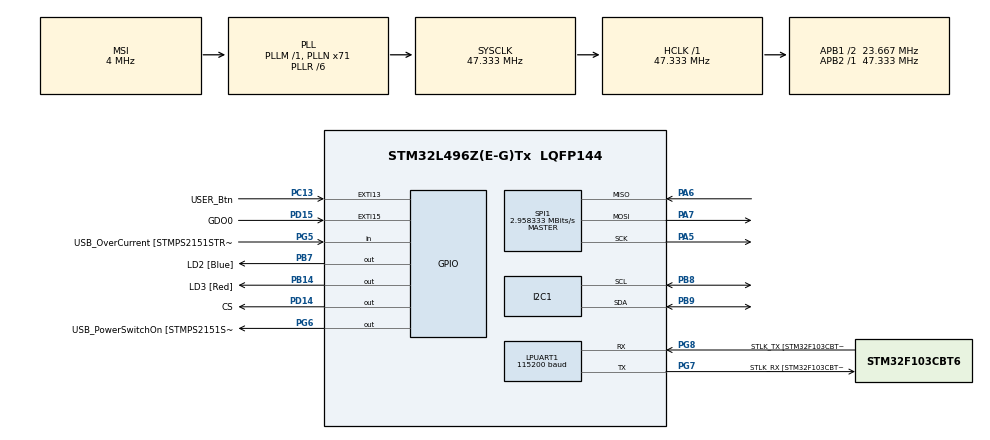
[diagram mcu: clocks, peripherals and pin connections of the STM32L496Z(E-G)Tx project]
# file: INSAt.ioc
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Dma.LPUART_RX.0.Direction=DMA_PERIPH_TO_MEMORY
Dma.LPUART_RX.0.Instance=DMA2_Channel7
Dma.LPUART_RX.0.MemDataAlignment=DMA_MDATAALIGN_BYTE
Dma.LPUART_RX.0.MemInc=DMA_MINC_ENABLE
Dma.LPUART_RX.0.Mode=DMA_NORMAL
Dma.LPUART_RX.0.PeriphDataAlignment=DMA_PDATAALIGN_BYTE
Dma.LPUART_RX.0.PeriphInc=DMA_PINC_DISABLE
Dma.LPUART_RX.0.Priority=DMA_PRIORITY_VERY_HIGH
Dma.Request0=LPUART_RX
FREERTOS.Mutexes01=consoleMutex,Dynamic,NULL
FREERTOS.Queues01=consoleQueue,10,char,0,Dynamic,NULL,NULL
FREERTOS.Tasks01=consoleTask,24,128,StartConsoleTask,Default,NULL,Static,consoleTaskBuffer,consoleTaskControlBlock;imuTask,24,128,StartIMUTask,Default,NULL,Static,imuTaskBuffer,imuTaskControlBlock;rfTask,8,128,StartRFTask,Default,NULL,Static,rfTaskBuffer,rfTaskControlBlock
I2C1.Timing=0x00505B89
LPUART1.BaudRate=115200
LPUART1.WordLength=UART_WORDLENGTH_8B
Mcu.Family=STM32L4
Mcu.Name=STM32L496Z(E-G)Tx
Mcu.Package=LQFP144
NVIC.DMA2_Channel7_IRQn=true\:5\:0\:false\:false\:true\:true\:false\:true\:true
NVIC.EXTI15_10_IRQn=true\:5\:0\:false\:false\:true\:true\:true\:true\:true
NVIC.I2C1_EV_IRQn=true\:5\:0\:false\:false\:true\:true\:true\:true\:true
NVIC.LPUART1_IRQn=true\:5\:0\:false\:false\:true\:true\:true\:true\:true
NVIC.PriorityGroup=NVIC_PRIORITYGROUP_4
NVIC.TIM7_IRQn=true\:15\:0\:false\:false\:true\:false\:false\:true\:true
NVIC.TimeBase=TIM7_IRQn
NVIC.TimeBaseIP=TIM7
PA10.GPIO_Label=USB_ID
PA10.Signal=USB_OTG_FS_ID
PA11.GPIO_Label=USB_DM
PA11.Signal=USB_OTG_FS_DM
PA12.GPIO_Label=USB_DP
PA12.Signal=USB_OTG_FS_DP
PA13\ (JTMS/SWDIO).GPIO_Label=TMS
PA13\ (JTMS/SWDIO).Mode=Serial_Wire
PA13\ (JTMS/SWDIO).Signal=SYS_JTMS-SWDIO
PA14\ (JTCK/SWCLK).GPIO_Label=TCK
PA14\ (JTCK/SWCLK).Mode=Serial_Wire
PA14\ (JTCK/SWCLK).Signal=SYS_JTCK-SWCLK
PA4.Signal=SPI1_NSS
PA5.Mode=Full_Duplex_Master
PA5.Signal=SPI1_SCK
PA6.Mode=Full_Duplex_Master
PA6.Signal=SPI1_MISO
PA7.Mode=Full_Duplex_Master
PA7.Signal=SPI1_MOSI
PA8.GPIO_Label=USB_SOF [TP1]
PA8.Signal=USB_OTG_FS_SOF
PA9.GPIO_Label=USB_VBUS
PA9.Signal=USB_OTG_FS_VBUS
PB14.GPIO_Label=LD3 [Red]
PB14.Signal=GPIO_Output
PB3\ (JTDO/TRACESWO).GPIO_Label=SWO
PB3\ (JTDO/TRACESWO).Signal=SYS_JTDO-SWO
PB7.GPIO_Label=LD2 [Blue]
PB7.Signal=GPIO_Output
PB8.GPIO_Pu=GPIO_NOPULL
PB8.GPIO_Speed=GPIO_SPEED_FREQ_VERY_HIGH
PB8.Mode=I2C
PB8.Signal=I2C1_SCL
PB9.GPIO_Pu=GPIO_NOPULL
PB9.GPIO_Speed=GPIO_SPEED_FREQ_VERY_HIGH
PB9.Mode=I2C
PB9.Signal=I2C1_SDA
PC13.GPIO_Label=USER_Btn
PC13.Signal=GPXTI13
PC14-OSC32_IN\ (PC14).Mode=LSE-External-Oscillator
PC14-OSC32_IN\ (PC14).Signal=RCC_OSC32_IN
PC15-OSC32_OUT\ (PC15).Mode=LSE-External-Oscillator
PC15-OSC32_OUT\ (PC15).Signal=RCC_OSC32_OUT
PD14.GPIO_Label=CS
PD14.GPIO_PuPd=GPIO_NOPULL
PD14.PinState=GPIO_PIN_RESET
PD14.Signal=GPIO_Output
PD15.GPIO_Label=GDO0
PD15.GPIO_ModeDefaultEXTI=GPIO_MODE_IT_FALLING
PD15.Signal=GPXTI15
PG5.GPIO_Label=USB_OverCurrent [STMPS2151STR_FAULT]
PG5.Signal=GPIO_Input
PG6.GPIO_Label=USB_PowerSwitchOn [STMPS2151STR_EN]
PG6.Signal=GPIO_Output
PG7.GPIO_Label=STLK_RX [STM32F103CBT6_PA3]
PG7.Mode=Asynchronous
PG7.Signal=LPUART1_TX
PG8.GPIO_Label=STLK_TX [STM32F103CBT6_PA2]
PG8.Mode=Asynchronous
PG8.Signal=LPUART1_RX
PH1-OSC_OUT\ (PH1).Signal=RCC_OSC_OUT
ProjectManager.HeapSize=0x200
ProjectManager.StackSize=0x400
ProjectManager.TargetToolchain=STM32CubeIDE
RCC.48MHZClocksFreq_Value=24000000
RCC.ADCFreq_Value=48000000
RCC.AHBFreq_Value=47333333.333333336
RCC.APB1CLKDivider=RCC_HCLK_DIV2
RCC.APB1Freq_Value=23666666.666666668
RCC.APB1TimFreq_Value=47333333.333333336
RCC.APB2Freq_Value=47333333.333333336
RCC.APB2TimFreq_Value=47333333.333333336
RCC.CortexFreq_Value=47333333.333333336
RCC.HCLKFreq_Value=47333333.333333336
RCC.HSE_VALUE=8000000
RCC.HSI48_VALUE=48000000
RCC.HSI_VALUE=16000000
RCC.MSI_VALUE=4000000
RCC.PLLMUL=RCC_PLL_MUL9
RCC.PLLN=71
RCC.PLLR=RCC_PLLR_DIV6
RCC.PLLSAI1N=24
RCC.PRESCALERUSB=RCC_USBCLKSOURCE_PLL_DIV1_5
RCC.SYSCLKFreq_VALUE=47333333.333333336
RCC.SYSCLKSource=RCC_SYSCLKSOURCE_PLLCLK
RCC.SYSCLKSourceVirtual=RCC_SYSCLKSOURCE_PLLCLK
RCC.USBFreq_Value=48000000
RCC.VCOOutputFreq_Value=284000000
SPI1.BaudRatePrescaler=SPI_BAUDRATEPRESCALER_16
SPI1.CalculateBaudRate=2.958333 MBits/s
SPI1.DataSize=SPI_DATASIZE_8BIT
SPI1.Direction=SPI_DIRECTION_2LINES
SPI1.Mode=SPI_MODE_MASTER
SPI1.VirtualType=VM_MASTER
VP_FREERTOS_VS_CMSIS_V2.Mode=CMSIS_V2
VP_SYS_VS_tim7.Mode=TIM7
board=NUCLEO-L496ZG

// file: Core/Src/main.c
/* USER CODE BEGIN Header */
/**
  ******************************************************************************
  * @file           : main.c
  * @brief          : Main program body
  ******************************************************************************
  * @attention
  *
  * Copyright (c) 2023 STMicroelectronics.
  * All rights reserved.
  *
  * This software is licensed under terms that can be found in the LICENSE file
  * in the root directory of this software component.
  * If no LICENSE file comes with this software, it is provided AS-IS.
  *
  ******************************************************************************
  */
/* USER CODE END Header */
#include "main.h"
#include "cmsis_os.h"

/* USER CODE BEGIN Includes */
#include "lsm9ds1_driver.h"
#include "rf_driver.h"
#include <string.h>
#include <stdio.h>
/* USER CODE END Includes */

typedef StaticTask_t osStaticThreadDef_t;
/* USER CODE BEGIN PTD */
typedef struct {
  void   *hbus;
  uint8_t i2c_address;
} sensbus_t;
/* USER CODE END PTD */

/* USER CODE BEGIN PD */
#define SENSOR_BUS hi2c1
/* USER CODE END PD */

/* USER CODE BEGIN PM */
#define BOOT_TIME  20
/* USER CODE END PM */

I2C_HandleTypeDef hi2c1;

UART_HandleTypeDef hlpuart1;
DMA_HandleTypeDef hdma_lpuart_rx;

SPI_HandleTypeDef hspi1;

/* Definitions for consoleTask */
osThreadId_t consoleTaskHandle;
uint32_t consoleTaskBuffer[ 128 ];
osStaticThreadDef_t consoleTaskControlBlock;
const osThreadAttr_t consoleTask_attributes = {
  .name = "consoleTask",
  .cb_mem = &consoleTaskControlBlock,
  .cb_size = sizeof(consoleTaskControlBlock),
  .stack_mem = &consoleTaskBuffer[0],
  .stack_size = sizeof(consoleTaskBuffer),
  .priority = (osPriority_t) osPriorityHigh,
};
/* Definitions for imuTask */
osThreadId_t imuTaskHandle;
uint32_t imuTaskBuffer[ 128 ];
osStaticThreadDef_t imuTaskControlBlock;
const osThreadAttr_t imuTask_attributes = {
  .name = "imuTask",
  .cb_mem = &imuTaskControlBlock,
  .cb_size = sizeof(imuTaskControlBlock),
  .stack_mem = &imuTaskBuffer[0],
  .stack_size = sizeof(imuTaskBuffer),
  .priority = (osPriority_t) osPriorityNormal,
};
/* Definitions for rfTask */
osThreadId_t rfTaskHandle;
uint32_t rfTaskBuffer[ 128 ];
osStaticThreadDef_t rfTaskControlBlock;
const osThreadAttr_t rfTask_attributes = {
  .name = "rfTask",
  .cb_mem = &rfTaskControlBlock,
  .cb_size = sizeof(rfTaskControlBlock),
  .stack_mem = &rfTaskBuffer[0],
  .stack_size = sizeof(rfTaskBuffer),
  .priority = (osPriority_t) osPriorityNormal1,
};
/* Definitions for consoleQueue */
osMessageQueueId_t consoleQueueHandle;
const osMessageQueueAttr_t consoleQueue_attributes = {
  .name = "consoleQueue"
};
/* Definitions for consoleMutex */
osMutexId_t consoleMutexHandle;
const osMutexAttr_t consoleMutex_attributes = {
  .name = "consoleMutex"
};
/* USER CODE BEGIN PV */
static sensbus_t mag_bus = {&SENSOR_BUS,
							LSM9DS1_MAG_I2C_ADD_H
                           };
static sensbus_t imu_bus = {&SENSOR_BUS,
							LSM9DS1_IMU_I2C_ADD_H
                           };
static int16_t data_raw_acceleration[3];
static int16_t data_raw_angular_rate[3];
static int16_t data_raw_magnetic_field[3];
static float acceleration_mg[3];
static float angular_rate_mdps[3];
static float magnetic_field_mgauss[3];
//static uint8_t rst;
static uint8_t tx_buffer[1000];
static lsm9ds1_status_t reg;

static lsm9ds1_id_t whoamI;
/* USER CODE END PV */

void SystemClock_Config(void);
static void MX_GPIO_Init(void);
static void MX_DMA_Init(void);
static void MX_LPUART1_UART_Init(void);
static void MX_I2C1_Init(void);
static void MX_SPI1_Init(void);
void StartConsoleTask(void *argument);
void StartIMUTask(void *argument);
void StartRFTask(void *argument);

/* USER CODE BEGIN PFP */
void sendUART(char *data);
static int32_t stm32l4_write_imu(void *handle, uint8_t reg,
                                  const uint8_t *bufp, uint16_t len);
static int32_t stm32l4_read_imu(void *handle, uint8_t reg,
                                 uint8_t *bufp, uint16_t len);
static int32_t stm32l4_write_mag(void *handle, uint8_t reg,
                                  const uint8_t *bufp, uint16_t len);
static int32_t stm32l4_read_mag(void *handle, uint8_t reg,
                                 uint8_t *bufp, uint16_t len);

void transmit_demo(uint16_t size);
/* USER CODE END PFP */

int main(void)
{

  /* MCU Configuration--------------------------------------------------------*/

  /* Reset of all peripherals, Initializes the Flash interface and the Systick. */
  HAL_Init();

  /* Configure the system clock */
  SystemClock_Config();

  /* Initialize all configured peripherals */
  MX_GPIO_Init();
  MX_DMA_Init();
  MX_LPUART1_UART_Init();
  MX_I2C1_Init();
  MX_SPI1_Init();

  /* Init scheduler */
  osKernelInitialize();
  /* Create the mutex(es) */
  /* creation of consoleMutex */
  consoleMutexHandle = osMutexNew(&consoleMutex_attributes);

  /* Create the queue(s) */
  /* creation of consoleQueue */
  consoleQueueHandle = osMessageQueueNew (10, sizeof(char), &consoleQueue_attributes);

  /* Create the thread(s) */
  /* creation of consoleTask */
  consoleTaskHandle = osThreadNew(StartConsoleTask, NULL, &consoleTask_attributes);

  /* creation of imuTask */
  imuTaskHandle = osThreadNew(StartIMUTask, NULL, &imuTask_attributes);

  /* creation of rfTask */
  rfTaskHandle = osThreadNew(StartRFTask, NULL, &rfTask_attributes);

  /* Start scheduler */
  osKernelStart();

  /* We should never get here as control is now taken by the scheduler */
  /* Infinite loop */
  while (1)
  {

  }
}

void SystemClock_Config(void)
{
  RCC_OscInitTypeDef RCC_OscInitStruct = {0};
  RCC_ClkInitTypeDef RCC_ClkInitStruct = {0};

  /** Configure the main internal regulator output voltage
  */
  if (HAL_PWREx_ControlVoltageScaling(PWR_REGULATOR_VOLTAGE_SCALE1) != HAL_OK)
  {
    Error_Handler();
  }

  /** Initializes the RCC Oscillators according to the specified parameters
  * in the RCC_OscInitTypeDef structure.
  */
  RCC_OscInitStruct.OscillatorType = RCC_OSCILLATORTYPE_MSI;
  RCC_OscInitStruct.MSIState = RCC_MSI_ON;
  RCC_OscInitStruct.MSICalibrationValue = 0;
  RCC_OscInitStruct.MSIClockRange = RCC_MSIRANGE_6;
  RCC_OscInitStruct.PLL.PLLState = RCC_PLL_ON;
  RCC_OscInitStruct.PLL.PLLSource = RCC_PLLSOURCE_MSI;
  RCC_OscInitStruct.PLL.PLLM = 1;
  RCC_OscInitStruct.PLL.PLLN = 71;
  RCC_OscInitStruct.PLL.PLLP = RCC_PLLP_DIV2;
  RCC_OscInitStruct.PLL.PLLQ = RCC_PLLQ_DIV2;
  RCC_OscInitStruct.PLL.PLLR = RCC_PLLR_DIV6;
  if (HAL_RCC_OscConfig(&RCC_OscInitStruct) != HAL_OK)
  {
    Error_Handler();
  }

  /** Initializes the CPU, AHB and APB buses clocks
  */
  RCC_ClkInitStruct.ClockType = RCC_CLOCKTYPE_HCLK|RCC_CLOCKTYPE_SYSCLK
                              |RCC_CLOCKTYPE_PCLK1|RCC_CLOCKTYPE_PCLK2;
  RCC_ClkInitStruct.SYSCLKSource = RCC_SYSCLKSOURCE_PLLCLK;
  RCC_ClkInitStruct.AHBCLKDivider = RCC_SYSCLK_DIV1;
  RCC_ClkInitStruct.APB1CLKDivider = RCC_HCLK_DIV2;
  RCC_ClkInitStruct.APB2CLKDivider = RCC_HCLK_DIV1;

  if (HAL_RCC_ClockConfig(&RCC_ClkInitStruct, FLASH_LATENCY_2) != HAL_OK)
  {
    Error_Handler();
  }
}

static void MX_I2C1_Init(void)
{

  hi2c1.Instance = I2C1;
  hi2c1.Init.Timing = 0x00505B89;
  hi2c1.Init.OwnAddress1 = 0;
  hi2c1.Init.AddressingMode = I2C_ADDRESSINGMODE_7BIT;
  hi2c1.Init.DualAddressMode = I2C_DUALADDRESS_DISABLE;
  hi2c1.Init.OwnAddress2 = 0;
  hi2c1.Init.OwnAddress2Masks = I2C_OA2_NOMASK;
  hi2c1.Init.GeneralCallMode = I2C_GENERALCALL_DISABLE;
  hi2c1.Init.NoStretchMode = I2C_NOSTRETCH_DISABLE;
  if (HAL_I2C_Init(&hi2c1) != HAL_OK)
  {
    Error_Handler();
  }

  /** Configure Analogue filter
  */
  if (HAL_I2CEx_ConfigAnalogFilter(&hi2c1, I2C_ANALOGFILTER_ENABLE) != HAL_OK)
  {
    Error_Handler();
  }

  /** Configure Digital filter
  */
  if (HAL_I2CEx_ConfigDigitalFilter(&hi2c1, 0) != HAL_OK)
  {
    Error_Handler();
  }

}

static void MX_LPUART1_UART_Init(void)
{

  hlpuart1.Instance = LPUART1;
  hlpuart1.Init.BaudRate = 115200;
  hlpuart1.Init.WordLength = UART_WORDLENGTH_8B;
  hlpuart1.Init.StopBits = UART_STOPBITS_1;
  hlpuart1.Init.Parity = UART_PARITY_NONE;
  hlpuart1.Init.Mode = UART_MODE_TX_RX;
  hlpuart1.Init.HwFlowCtl = UART_HWCONTROL_NONE;
  hlpuart1.Init.OneBitSampling = UART_ONE_BIT_SAMPLE_DISABLE;
  hlpuart1.AdvancedInit.AdvFeatureInit = UART_ADVFEATURE_NO_INIT;
  if (HAL_UART_Init(&hlpuart1) != HAL_OK)
  {
    Error_Handler();
  }

}

static void MX_SPI1_Init(void)
{

  /* SPI1 parameter configuration*/
  hspi1.Instance = SPI1;
  hspi1.Init.Mode = SPI_MODE_MASTER;
  hspi1.Init.Direction = SPI_DIRECTION_2LINES;
  hspi1.Init.DataSize = SPI_DATASIZE_8BIT;
  hspi1.Init.CLKPolarity = SPI_POLARITY_LOW;
  hspi1.Init.CLKPhase = SPI_PHASE_1EDGE;
  hspi1.Init.NSS = SPI_NSS_SOFT;
  hspi1.Init.BaudRatePrescaler = SPI_BAUDRATEPRESCALER_16;
  hspi1.Init.FirstBit = SPI_FIRSTBIT_MSB;
  hspi1.Init.TIMode = SPI_TIMODE_DISABLE;
  hspi1.Init.CRCCalculation = SPI_CRCCALCULATION_DISABLE;
  hspi1.Init.CRCPolynomial = 10;
  if (HAL_SPI_Init(&hspi1) != HAL_OK)
  {
    Error_Handler();
  }

}

static void MX_DMA_Init(void)
{

  /* DMA controller clock enable */
  __HAL_RCC_DMA2_CLK_ENABLE();

  /* DMA interrupt init */
  /* DMA2_Channel7_IRQn interrupt configuration */
  HAL_NVIC_SetPriority(DMA2_Channel7_IRQn, 5, 0);
  HAL_NVIC_EnableIRQ(DMA2_Channel7_IRQn);

}

static void MX_GPIO_Init(void)
{
  GPIO_InitTypeDef GPIO_InitStruct = {0};

  /* GPIO Ports Clock Enable */
  __HAL_RCC_GPIOC_CLK_ENABLE();
  __HAL_RCC_GPIOH_CLK_ENABLE();
  __HAL_RCC_GPIOA_CLK_ENABLE();
  __HAL_RCC_GPIOB_CLK_ENABLE();
  __HAL_RCC_GPIOD_CLK_ENABLE();
  __HAL_RCC_GPIOG_CLK_ENABLE();
  HAL_PWREx_EnableVddIO2();

  /*Configure GPIO pin Output Level */
  HAL_GPIO_WritePin(GPIOB, LD3_Pin|LD2_Pin, GPIO_PIN_RESET);

  /*Configure GPIO pin Output Level */
  HAL_GPIO_WritePin(CS_GPIO_Port, CS_Pin, GPIO_PIN_RESET);

  /*Configure GPIO pin Output Level */
  HAL_GPIO_WritePin(USB_PowerSwitchOn_GPIO_Port, USB_PowerSwitchOn_Pin, GPIO_PIN_RESET);

  /*Configure GPIO pin : USER_Btn_Pin */
  GPIO_InitStruct.Pin = USER_Btn_Pin;
  GPIO_InitStruct.Mode = GPIO_MODE_IT_RISING;
  GPIO_InitStruct.Pull = GPIO_NOPULL;
  HAL_GPIO_Init(USER_Btn_GPIO_Port, &GPIO_InitStruct);

  /*Configure GPIO pins : LD3_Pin LD2_Pin */
  GPIO_InitStruct.Pin = LD3_Pin|LD2_Pin;
  GPIO_InitStruct.Mode = GPIO_MODE_OUTPUT_PP;
  GPIO_InitStruct.Pull = GPIO_NOPULL;
  GPIO_InitStruct.Speed = GPIO_SPEED_FREQ_LOW;
  HAL_GPIO_Init(GPIOB, &GPIO_InitStruct);

  /*Configure GPIO pin : CS_Pin */
  GPIO_InitStruct.Pin = CS_Pin;
  GPIO_InitStruct.Mode = GPIO_MODE_OUTPUT_PP;
  GPIO_InitStruct.Pull = GPIO_NOPULL;
  GPIO_InitStruct.Speed = GPIO_SPEED_FREQ_LOW;
  HAL_GPIO_Init(CS_GPIO_Port, &GPIO_InitStruct);

  /*Configure GPIO pin : GDO0_Pin */
  GPIO_InitStruct.Pin = GDO0_Pin;
  GPIO_InitStruct.Mode = GPIO_MODE_IT_FALLING;
  GPIO_InitStruct.Pull = GPIO_NOPULL;
  HAL_GPIO_Init(GDO0_GPIO_Port, &GPIO_InitStruct);

  /*Configure GPIO pin : USB_OverCurrent_Pin */
  GPIO_InitStruct.Pin = USB_OverCurrent_Pin;
  GPIO_InitStruct.Mode = GPIO_MODE_INPUT;
  GPIO_InitStruct.Pull = GPIO_NOPULL;
  HAL_GPIO_Init(USB_OverCurrent_GPIO_Port, &GPIO_InitStruct);

  /*Configure GPIO pin : USB_PowerSwitchOn_Pin */
  GPIO_InitStruct.Pin = USB_PowerSwitchOn_Pin;
  GPIO_InitStruct.Mode = GPIO_MODE_OUTPUT_PP;
  GPIO_InitStruct.Pull = GPIO_NOPULL;
  GPIO_InitStruct.Speed = GPIO_SPEED_FREQ_LOW;
  HAL_GPIO_Init(USB_PowerSwitchOn_GPIO_Port, &GPIO_InitStruct);

  /*Configure GPIO pins : USB_SOF_Pin USB_ID_Pin USB_DM_Pin USB_DP_Pin */
  GPIO_InitStruct.Pin = USB_SOF_Pin|USB_ID_Pin|USB_DM_Pin|USB_DP_Pin;
  GPIO_InitStruct.Mode = GPIO_MODE_AF_PP;
  GPIO_InitStruct.Pull = GPIO_NOPULL;
  GPIO_InitStruct.Speed = GPIO_SPEED_FREQ_VERY_HIGH;
  GPIO_InitStruct.Alternate = GPIO_AF10_OTG_FS;
  HAL_GPIO_Init(GPIOA, &GPIO_InitStruct);

  /* EXTI interrupt init*/
  HAL_NVIC_SetPriority(EXTI15_10_IRQn, 5, 0);
  HAL_NVIC_EnableIRQ(EXTI15_10_IRQn);

}

void StartConsoleTask(void *argument)
{
  /* USER CODE BEGIN 5 */
	osStatus_t status;
	char data[128]; // Taille maximale des données à envoyer

	consoleQueueHandle = osMessageQueueNew(10, sizeof(data), NULL);
	consoleMutexHandle = osMutexNew(NULL);
	/* Infinite loop */
	for(;;)
	{
		HAL_GPIO_TogglePin(LD3_GPIO_Port, LD3_Pin);
		status = osMessageQueueGet(consoleQueueHandle, &data, NULL, 0); // vérification si données dans fifo
		if (status == osOK)
		{
		  status = osMutexAcquire(consoleMutexHandle, osWaitForever);
		  if (status == osOK)
		  {
			  HAL_UART_Transmit(&hlpuart1, (uint8_t*)&data, strlen(data), 0xFFFF); // envoyer données à UART
			  osMutexRelease(consoleMutexHandle);
		  }
		}
		osDelay(1000);
	}
  /* USER CODE END 5 */
}

void StartIMUTask(void* argument)
{
	/* USER CODE BEGIN 6 */
  stmdev_ctx_t dev_ctx_imu;
  stmdev_ctx_t dev_ctx_mag;

  /* Initialize inertial sensors (IMU) driver interface */
  dev_ctx_imu.write_reg = stm32l4_write_imu;
  dev_ctx_imu.read_reg = stm32l4_read_imu;
  dev_ctx_imu.handle = (void *)&imu_bus;
  /* Initialize magnetic sensors driver interface */
  dev_ctx_mag.write_reg = stm32l4_write_mag;
  dev_ctx_mag.read_reg = stm32l4_read_mag;
  dev_ctx_mag.handle = (void *)&mag_bus;

  osDelay(BOOT_TIME);
  /* Check device ID */
  lsm9ds1_dev_id_get(&dev_ctx_mag, &dev_ctx_imu, &whoamI);

  if (whoamI.imu != LSM9DS1_IMU_ID || whoamI.mag != LSM9DS1_MAG_ID)
  {
	    sendUART("whoami not passed\r\n");
  }
  else
  {
    	sendUART("whoami passed\r\n");
    	osDelay(100);
  }
  lsm9ds1_dev_reset_set(&dev_ctx_mag, &dev_ctx_imu, PROPERTY_ENABLE);
  lsm9ds1_block_data_update_set(&dev_ctx_mag, &dev_ctx_imu,
                                PROPERTY_ENABLE);
  /* Set full scale */
   lsm9ds1_xl_full_scale_set(&dev_ctx_imu, LSM9DS1_4g);
   lsm9ds1_gy_full_scale_set(&dev_ctx_imu, LSM9DS1_2000dps);
   lsm9ds1_mag_full_scale_set(&dev_ctx_mag, LSM9DS1_16Ga);
   lsm9ds1_xl_filter_aalias_bandwidth_set(&dev_ctx_imu, LSM9DS1_AUTO);
   lsm9ds1_xl_filter_lp_bandwidth_set(&dev_ctx_imu,
                                      LSM9DS1_LP_ODR_DIV_50);
   lsm9ds1_xl_filter_out_path_set(&dev_ctx_imu, LSM9DS1_LP_OUT);
   /* Gyroscope filtering chain */
   lsm9ds1_gy_filter_lp_bandwidth_set(&dev_ctx_imu,
                                      LSM9DS1_LP_ULTRA_LIGHT);
   lsm9ds1_gy_filter_hp_bandwidth_set(&dev_ctx_imu, LSM9DS1_HP_MEDIUM);
   lsm9ds1_gy_filter_out_path_set(&dev_ctx_imu,
                                  LSM9DS1_LPF1_HPF_LPF2_OUT);
   /* Set Output Data Rate / Power mode */
   lsm9ds1_imu_data_rate_set(&dev_ctx_imu, LSM9DS1_IMU_59Hz5);
   lsm9ds1_mag_data_rate_set(&dev_ctx_mag, LSM9DS1_MAG_UHP_10Hz);
  /* Infinite loop */
  for(;;)
  {
    /* Read device status register */
	lsm9ds1_dev_status_get(&dev_ctx_mag, &dev_ctx_imu, &reg);
	if ( reg.status_imu.xlda && reg.status_imu.gda )
	{
	  /* Read imu data */
	  memset(data_raw_acceleration, 0x00, 3 * sizeof(int16_t));
	  memset(data_raw_angular_rate, 0x00, 3 * sizeof(int16_t));
	  lsm9ds1_acceleration_raw_get(&dev_ctx_imu,
	                               data_raw_acceleration);
	  lsm9ds1_angular_rate_raw_get(&dev_ctx_imu,
	                               data_raw_angular_rate);
	  acceleration_mg[0] = lsm9ds1_from_fs4g_to_mg(
	                         data_raw_acceleration[0]);
	  acceleration_mg[1] = lsm9ds1_from_fs4g_to_mg(
	                         data_raw_acceleration[1]);
	  acceleration_mg[2] = lsm9ds1_from_fs4g_to_mg(
	                         data_raw_acceleration[2]);
	  angular_rate_mdps[0] = lsm9ds1_from_fs2000dps_to_mdps(
	                           data_raw_angular_rate[0]);
	  angular_rate_mdps[1] = lsm9ds1_from_fs2000dps_to_mdps(
	                           data_raw_angular_rate[1]);
	  angular_rate_mdps[2] = lsm9ds1_from_fs2000dps_to_mdps(
	                           data_raw_angular_rate[2]);
	  //sprintf((char *)tx_buffer,
	  //        "IMU - [mg]:%4.2f\t%4.2f\t%4.2f\t[mdps]:%4.2f\t%4.2f\t%4.2f\r\n",
	  //        acceleration_mg[0], acceleration_mg[1], acceleration_mg[2],
	  //        angular_rate_mdps[0], angular_rate_mdps[1], angular_rate_mdps[2]);
	  //sprintf((char *)tx_buffer, "blabla\r\n");
	  osDelay(100);
	}

	if ( reg.status_mag.zyxda )
	{
	  /* Read magnetometer data */
	  memset(data_raw_magnetic_field, 0x00, 3 * sizeof(int16_t));
	  lsm9ds1_magnetic_raw_get(&dev_ctx_mag, data_raw_magnetic_field);
	  magnetic_field_mgauss[0] = lsm9ds1_from_fs16gauss_to_mG(
	                               data_raw_magnetic_field[0]);
	  magnetic_field_mgauss[1] = lsm9ds1_from_fs16gauss_to_mG(
	                               data_raw_magnetic_field[1]);
	  magnetic_field_mgauss[2] = lsm9ds1_from_fs16gauss_to_mG(
	                               data_raw_magnetic_field[2]);
	  //sprintf((char *)tx_buffer, "MAG - [mG]:%4.2f\t%4.2f\t%4.2f\r\n",
	  //        magnetic_field_mgauss[0], magnetic_field_mgauss[1],
	  //        magnetic_field_mgauss[2]);
	  osDelay(100);
	}
	sendUART("Mesures faites\r\n");
    osDelay(2000);
  }
  /* USER CODE END 6 */
}

static int32_t stm32l4_write_imu(void *handle, uint8_t reg,
                                  const uint8_t *bufp, uint16_t len)
{
  sensbus_t *sensbus = (sensbus_t *)handle;

  HAL_I2C_Mem_Write(sensbus->hbus, sensbus->i2c_address, reg,
                 I2C_MEMADD_SIZE_8BIT, (uint8_t*) bufp, len, 1000);
  return 0;
}

static int32_t stm32l4_read_imu(void *handle, uint8_t reg,
                                 uint8_t *bufp, uint16_t len)
{
  sensbus_t *sensbus = (sensbus_t *)handle;

  HAL_I2C_Mem_Read(sensbus->hbus, sensbus->i2c_address, reg,
                 I2C_MEMADD_SIZE_8BIT, bufp, len, 1000);
  return 0;
}

static int32_t stm32l4_write_mag(void *handle, uint8_t reg,
                                  const uint8_t *bufp, uint16_t len)
{
  sensbus_t *sensbus = (sensbus_t *)handle;

  reg |= 0x80;

  HAL_I2C_Mem_Write(sensbus->hbus, sensbus->i2c_address, reg,
                  I2C_MEMADD_SIZE_8BIT, (uint8_t*) bufp, len, 1000);
  return 0;
}

static int32_t stm32l4_read_mag(void *handle, uint8_t reg,
                                 uint8_t *bufp, uint16_t len)
{
  sensbus_t *sensbus = (sensbus_t *)handle;
  reg |= 0x80;

  HAL_I2C_Mem_Read(sensbus->hbus, sensbus->i2c_address, reg,
                 I2C_MEMADD_SIZE_8BIT, bufp, len, 1000);
  return 0;
}

void sendUART(char *data)
{
	osMessageQueuePut(consoleQueueHandle, (char *)data, 0, 0);
}

void StartRFTask(void *argument)
{
  /* USER CODE BEGIN StartRFTask */
	rf_begin(&hspi1, GFSK_1_2_kb, MHz434, CS_GPIO_Port, CS_Pin, GDO0_Pin);
	rf_sidle();
	uint8_t result = rf_read_register(MARCSTATE);
	rf_set_carrier_frequency(433.98);
	rf_set_carrier_offset(50);
	uint16_t i = 2;
	while(i<33){
			  transmit_demo(i);
			  osDelay(1000);
			  i++;
	}
  /* Infinite loop */
  for(;;)
  {
		transmit_demo(i);
		i +=100;
		osDelay(1000);
  }
  /* USER CODE END StartRFTask */
}

void transmit_demo(uint16_t size){
	uint8_t data[size];
	int i;
	static int counter = 0;
	data[0] = size & 0xFF;
	data[1] = (size>>8) & 0xFF;

	for(i=2; i<size; i++){
	  data[i] = (i)%256;
	}

	if(send_frame(data, size)!=FRAME_OK) sendUART("ERROR\n\r");
	else sendUART("Niquel!\r\n");
	data[size-1] = counter++;

}

void HAL_TIM_PeriodElapsedCallback(TIM_HandleTypeDef *htim)
{
  if (htim->Instance == TIM7) {
    HAL_IncTick();
  }
}

void Error_Handler(void)
{
  __disable_irq();
  while (1)
  {
  }
}
